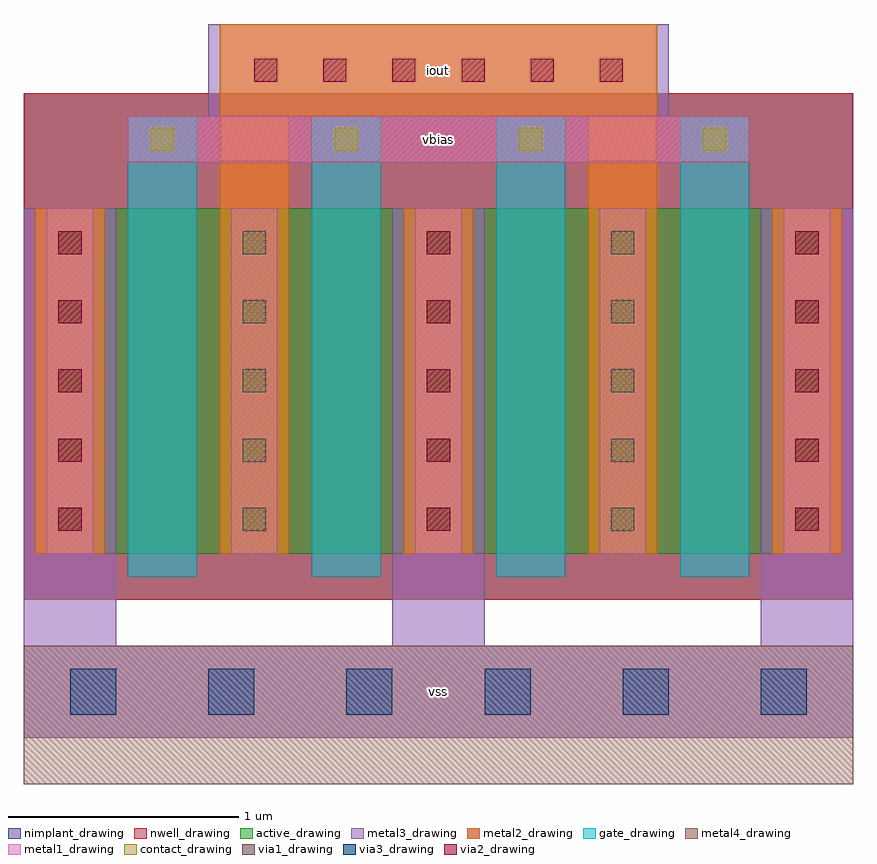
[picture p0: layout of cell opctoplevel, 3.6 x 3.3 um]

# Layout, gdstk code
import gdstk
lib = gdstk.Library(unit=1e-6, precision=1e-09)
def R(c, l, rs):  # rectangles x0, y0, x1, y1
    for r in rs: c.add(gdstk.rectangle(r[:2], r[2:], *l))
def A(c, l, x, y, w, h, nx, ny, dx, dy):  # array of equal rectangles
    R(c, l, [(x+i*dx, y+j*dy, x+i*dx+w, y+j*dy+h) for i in range(nx) for j in range(ny)])
active_drawing = (1, 0)
nwell_drawing = (3, 0)
nimplant_drawing = (5, 0)
gate_drawing = (6, 0)
contact_drawing = (7, 0)
metal1_drawing = (8, 0)
via1_drawing = (9, 0)
metal2_drawing = (10, 0)
via2_drawing = (11, 0)
metal3_drawing = (12, 0)
via3_drawing = (13, 0)
metal4_drawing = (14, 0)

opctoplevel = lib.new_cell('opctoplevel')
R(opctoplevel, active_drawing, [(-0.35,0,3.05,1.5)])
R(opctoplevel, nwell_drawing, [(-0.45,-0.2,3.15,2)])
R(opctoplevel, nimplant_drawing, [(-0.45,-0.2,3.15,2)])
A(opctoplevel, gate_drawing, 0, -0.1, 0.3, 2, 4, 1, 0.8, 0)
A(opctoplevel, contact_drawing, -0.3, 0.1, 0.1, 0.1, 5, 5, 0.8, 0.3)
A(opctoplevel, contact_drawing, 0.1, 1.75, 0.1, 0.1, 4, 1, 0.8, 0)
A(opctoplevel, metal1_drawing, -0.35, 0, 0.2, 1.5, 5, 1, 0.8, 0)
R(opctoplevel, metal1_drawing, [(0,1.7,2.7,1.9)])
A(opctoplevel, via1_drawing, -0.3, 0.1, 0.1, 0.1, 5, 5, 0.8, 0.3)
A(opctoplevel, metal2_drawing, -0.4, 0, 0.3, 1.5, 5, 1, 0.8, 0)
R(opctoplevel, metal2_drawing, [(0.4,1.5,0.7,1.9), (2,1.5,2.3,1.9), (0.4,1.9,2.3,2.3)])
A(opctoplevel, via2_drawing, -0.3, 0.1, 0.1, 0.1, 3, 5, 1.6, 0.3)
A(opctoplevel, via2_drawing, 0.55, 2.05, 0.1, 0.1, 6, 1, 0.3, 0)
A(opctoplevel, metal3_drawing, -0.45, -0.4, 0.4, 0.4, 3, 1, 1.6, 0)
A(opctoplevel, metal3_drawing, -0.45, 0, 0.4, 1.5, 3, 1, 1.6, 0)
R(opctoplevel, metal3_drawing, [(-0.45,-0.8,3.15,-0.4), (0.35,1.9,2.35,2.3)])
A(opctoplevel, via3_drawing, -0.25, -0.7, 0.2, 0.2, 6, 1, 0.6, 0)
R(opctoplevel, metal4_drawing, [(-0.45,-1,3.15,-0.4)])
opctoplevel.add(gdstk.Label('vbias', (1.35,1.8), layer=8, texttype=0))
opctoplevel.add(gdstk.Label('vss', (1.35,-0.6), layer=14, texttype=0))
opctoplevel.add(gdstk.Label('iout', (1.35,2.1), layer=12, texttype=0))

lib.write_gds('opctoplevel.gds')
